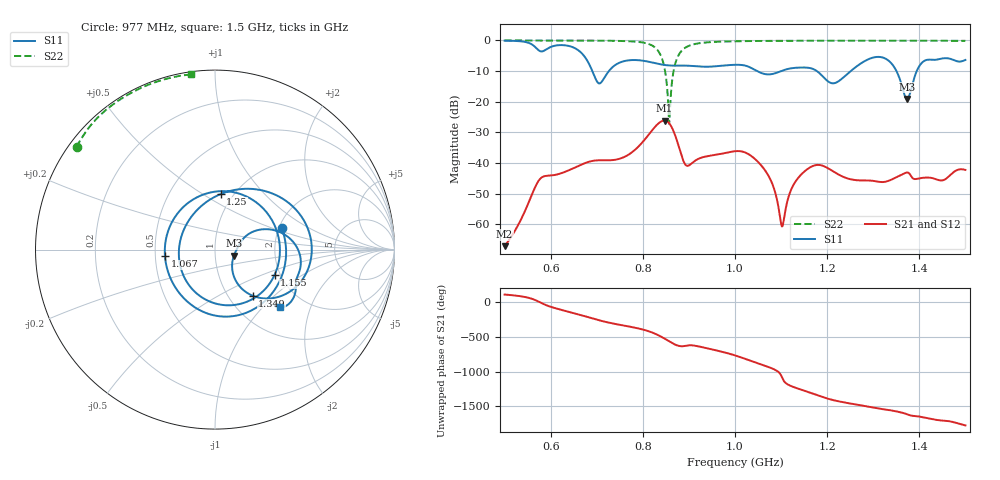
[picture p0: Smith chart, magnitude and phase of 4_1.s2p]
! TOUCHSTONE file generated by CST MICROWAVE STUDIO
! Date and time: Sat Nov 14 20:32:42 2020
! Project name: Scenario_1_Planar_Body_Tissue_Out_of_Line_v2.cst
! Parameters = {dy1=294.1; L_HA=400; Ltissue=700; MT=2.54; Rad_Dielectric=30; Rad_Lower=7.3; Rad_Upper=30; Wtissue=700; a_HA=580; a_WG=246; b_HA=500; b_WG=121; c_HA=0; c_WG=187; d_feed=85; dx1=173; h_feed=15; h_lower=18; h_upper=40; hfat=3; hgap=25; hmuscle=50; hskin=1.5}
! Header version: 2018
! Port assignment regex: !\s*Touchstone port\s*([0-9]+)\s*=\s*(CST MWS port|CST DS port)\s*([0-9]+|Zmin|Zmax)\s*\(\"(.*)\"\)(\s*mode\s*([0-9]+))?.*
! Touchstone port assignment:
! Touchstone port 1 = CST MWS port 1 ("")
! Touchstone port 2 = CST MWS port 2 ("")
# GHz S DB R 50
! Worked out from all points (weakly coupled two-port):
!   1003 points, 500 MHz to 1.5 GHz, reference 50 ohm
!   highest |S21| = -26.13 dB at 847 MHz (marker M1); lowest = -67.1 dB at 500 MHz (marker M2)
!   lowest |S11| = -19.1 dB at 1.373 GHz (marker M3), VSWR 1.25, Z = 61.6 - j4.25 ohm
!   |S11| at or under -10 dB: 1.048 GHz to 1.1 GHz (52.34 MHz wide, 4.87 % of centre); 1.178 GHz to 1.251 GHz (73.44 MHz wide, 6.05 % of centre); 1.35 GHz to 1.394 GHz (43.94 MHz wide, 3.2 % of centre) (the widest 3 of 4)
!   |S22| runs from -27.2 to 0.0 dB; largest |S21 - S12| = 1.6e-06
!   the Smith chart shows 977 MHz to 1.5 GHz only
!   S11 on the Smith chart (normalised r, x): 977 MHz: 2.07, +0.59; 1.067 GHz: 0.56, -0.04; 1.155 GHz: 1.86, -0.61; 1.25 GHz: 0.87, +0.60; 1.349 GHz: 1.29, -0.74; 1.5 GHz: 1.51, -1.25
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0.5  -0.07 -121.8  -67.12 114.0  -67.11 114.0  -0.01 151.1
0.625  -1.52 174.7  -43.21 -110.4  -43.21 -110.4  -0.03 142.1
0.667  -4.12 110.9  -40.49 174.8  -40.49 174.8  -0.04 138.4
0.693  -10.95 35.1  -39.24 124.9  -39.24 124.9  -0.06 135.6
0.72  -11.33 -105.5  -39.11 77.6  -39.11 77.6  -0.09 132.3
0.765  -6.58 157.2  -37.61 18.4  -37.61 18.4  -0.23 124.2
0.834  -7.65 17.3  -27.05 -114.6  -27.05 -114.6  -3.58 83.0
0.847  -8.00 -16.6  -26.13 -161.9  -26.13 -161.9  -8.98 58.1
0.858  -8.17 -47.4  -27.20 154.0  -27.20 154.0  -26.13 -79.2
0.903  -8.29 -179.7  -40.46 101.4  -40.46 101.4  -1.58 165.9
0.977  -8.17 18.1  -36.77 -1.3  -36.77 -1.3  -0.36 143.4
1  -7.95 -24.4  -36.13 -44.8  -36.13 -44.8  -0.28 140.1
1.067  -11.02 -172.6  -42.77 161.8  -42.77 161.8  -0.15 132.7
1.102  -9.90 93.6  -60.71 -2.0  -60.71 -2.0  -0.12 129.5
1.155  -8.86 -23.2  -42.22 155.1  -42.22 155.1  -0.10 125.1
1.167  -9.18 -50.6  -41.09 127.8  -41.09 127.8  -0.10 124.2
1.25  -10.14 84.1  -45.26 -19.5  -45.26 -19.5  -0.09 117.8
1.334  -6.68 -32.5  -45.75 -114.4  -45.75 -114.4  -0.08 111.5
1.349  -9.60 -50.8  -44.72 -132.2  -44.72 -132.2  -0.08 110.3
1.373  -19.12 -17.9  -43.07 -173.6  -43.07 -173.6  -0.09 108.5
1.41  -6.74 0.6  -44.79 138.7  -44.79 138.7  -0.09 105.5
1.5  -6.37 -41.4  -42.24 23.2  -42.24 23.2  -0.13 97.9
